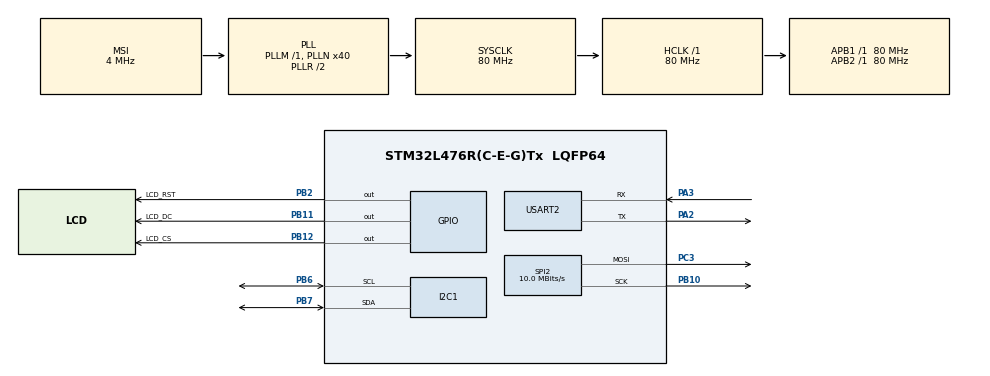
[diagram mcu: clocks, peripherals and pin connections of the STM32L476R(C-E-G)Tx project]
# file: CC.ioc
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I2C1.Timing=0x10909CEC
Mcu.Family=STM32L4
Mcu.Name=STM32L476R(C-E-G)Tx
Mcu.Package=LQFP64
NVIC.PriorityGroup=NVIC_PRIORITYGROUP_4
PA13\ (JTMS-SWDIO).Mode=Serial_Wire
PA13\ (JTMS-SWDIO).Signal=SYS_JTMS-SWDIO
PA14\ (JTCK-SWCLK).Mode=Serial_Wire
PA14\ (JTCK-SWCLK).Signal=SYS_JTCK-SWCLK
PA2.Mode=Asynchronous
PA2.Signal=USART2_TX
PA3.Mode=Asynchronous
PA3.Signal=USART2_RX
PB10.Mode=TX_Only_Simplex_Unidirect_Master
PB10.Signal=SPI2_SCK
PB11.GPIO_Label=LCD_DC
PB11.Signal=GPIO_Output
PB12.GPIO_Label=LCD_CS
PB12.Signal=GPIO_Output
PB2.GPIO_Label=LCD_RST
PB2.Signal=GPIO_Output
PB6.Mode=I2C
PB6.Signal=I2C1_SCL
PB7.Mode=I2C
PB7.Signal=I2C1_SDA
PC3.Mode=TX_Only_Simplex_Unidirect_Master
PC3.Signal=SPI2_MOSI
ProjectManager.HeapSize=0x200
ProjectManager.StackSize=0x400
ProjectManager.TargetToolchain=STM32CubeIDE
RCC.AHBFreq_Value=80000000
RCC.APB1Freq_Value=80000000
RCC.APB1TimFreq_Value=80000000
RCC.APB2Freq_Value=80000000
RCC.APB2TimFreq_Value=80000000
RCC.CortexFreq_Value=80000000
RCC.HCLKFreq_Value=80000000
RCC.HSE_VALUE=8000000
RCC.HSI_VALUE=16000000
RCC.LSE_VALUE=32768
RCC.MSI_VALUE=4000000
RCC.PLLN=40
RCC.SYSCLKFreq_VALUE=80000000
RCC.SYSCLKSource=RCC_SYSCLKSOURCE_PLLCLK
RCC.VCOOutputFreq_Value=160000000
SPI2.BaudRatePrescaler=SPI_BAUDRATEPRESCALER_8
SPI2.CalculateBaudRate=10.0 MBits/s
SPI2.DataSize=SPI_DATASIZE_8BIT
SPI2.Direction=SPI_DIRECTION_2LINES
SPI2.Mode=SPI_MODE_MASTER
SPI2.NSSPMode=SPI_NSS_PULSE_DISABLE
SPI2.VirtualType=VM_MASTER
USART2.VirtualMode-Asynchronous=VM_ASYNC
VP_RTC_VS_RTC_Activate.Mode=RTC_Enabled
board=custom

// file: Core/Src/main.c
/* USER CODE BEGIN Header */
/**
 ******************************************************************************
 * @file           : main.c
 * @brief          : Main program body
 ******************************************************************************
 * @attention
 *
 * Copyright (c) 2023 STMicroelectronics.
 * All rights reserved.
 *
 * This software is licensed under terms that can be found in the LICENSE file
 * in the root directory of this software component.
 * If no LICENSE file comes with this software, it is provided AS-IS.
 *
 ******************************************************************************
 */
/* USER CODE END Header */
#include "main.h"
#include "gpio.h"
#include "i2c.h"
#include "rtc.h"
#include "spi.h"
#include "usart.h"

/* USER CODE BEGIN Includes */
// #include "lcd.h"
// #include "logo.c"

#include "font6x9.h"
#include "hagl.h"
#include "max.h"
#include "rgb565.h"

#include <stdbool.h>
#include <stdio.h>
#include <string.h>
#include <wchar.h>

/* USER CODE END Includes */

void SystemClock_Config(void);

/* USER CODE BEGIN 0 */
uint16_t test_image[64 * 64];

int __io_putchar(int ch)
{
  if (ch == '\n')
  {
    uint8_t ch2 = '\r';
    HAL_UART_Transmit(&huart2, &ch2, 1, HAL_MAX_DELAY);
  }

  HAL_UART_Transmit(&huart2, (uint8_t*)&ch, 1, HAL_MAX_DELAY);
  return 1;
}

/* USER CODE END 0 */

int main(void)
{
  /* USER CODE BEGIN 1 */

  HAL_StatusTypeDef HAL_RTC_GetTime(RTC_HandleTypeDef * hrtc, RTC_TimeTypeDef * sTime, uint32_t Format);
  HAL_StatusTypeDef HAL_RTC_GetDate(RTC_HandleTypeDef * hrtc, RTC_DateTypeDef * sDate, uint32_t Format);
  /* USER CODE END 1 */

  /* MCU Configuration--------------------------------------------------------*/

  /* Reset of all peripherals, Initializes the Flash interface and the Systick.
   */
  HAL_Init();

  /* Configure the system clock */
  SystemClock_Config();

  /* Initialize all configured peripherals */
  MX_GPIO_Init();
  MX_SPI2_Init();
  MX_RTC_Init();
  MX_I2C1_Init();
  MX_USART2_UART_Init();

  /* Infinite loop */
  /* USER CODE BEGIN WHILE */

  /* RTC_TimeTypeDef time;
  RTC_DateTypeDef date;

  HAL_RTC_GetTime(&hrtc, &time, RTC_FORMAT_BIN);
  HAL_RTC_GetDate(&hrtc, &date, RTC_FORMAT_BIN);

   */

  lcd_init();

  /* // RECTANGLE
  for (int i = 0; i < 8; i++) {
    hagl_draw_rounded_rectangle(2+i, 2+i, 158-i, 126-i, 8-i, rgb565(0, 0,
  i*16));
  }

   */

  wchar_t buffer[32]; // Bufor na ciąg znaków, musi być wystarczająco duży

  // Konwersja int na ciąg znaków
  // swprintf(buffer, 32, L"Pomiar prądu: %.2f mA", your_variable);

  // hagl_put_text(L"Godzina: ", 15, 20, WHITE, font6x9);
  //-l_+p , -g|+d

  // Teraz możesz wywołać funkcję hagl_put_text z tym buforem
  hagl_put_text(buffer, 15, 40, WHITE, font6x9);

  wchar_t time_buffer[32]; //  Buffer for storing time information

  // write_valrt_min(&hi2c1, 00000000);  // 0x14 alert register

  write_reset(&hi2c1, 00000001); // 0x18 reset register

  while (1)
  {
    // Define time and date structure variables
    RTC_TimeTypeDef time;
    RTC_DateTypeDef date;
    // Retrieve current time from the RTC
    HAL_RTC_GetTime(&hrtc, &time, RTC_FORMAT_BIN);
    // Retrieve current date from the RTC (date may not be used here but is
    // retrieved for completeness)
    HAL_RTC_GetDate(&hrtc, &date, RTC_FORMAT_BIN);
    // Format and assign the current time to the time buffer
    swprintf(time_buffer, sizeof(time_buffer), L"Time: %02d:%02d:%02d", time.Hours, time.Minutes, time.Seconds);

    // Display the time on the screen at the specified coordinates and font
    hagl_put_text(time_buffer, 15, 20, WHITE, font6x9);

    // Read the battery voltage
    float battery_voltage = read_voltage(&hi2c1);
    wchar_t voltage_buffer[32]; // Buffer for voltage display

    // If the battery voltage is positive, format and display it
    if (battery_voltage > 0)
    {
      // Format and display the battery voltage
      swprintf(voltage_buffer, sizeof(voltage_buffer), L"Voltage: %.4f V", battery_voltage);
      // Display the voltage on the screen at the specified coordinates and font
      hagl_put_text(voltage_buffer, 15, 50, WHITE,
                    font6x9); // Adjust text position as needed
    }
    else
    {
      // Display an error message if voltage reading fails
      hagl_put_text(L"Voltage reading error!", 15, 50, WHITE, font6x9);
    }

    // Read the battery state of charge (SoC)
    float battery_soc = read_soc(&hi2c1);
    wchar_t soc_buffer[32]; // Buffer for SoC display

    // If the SoC reading is valid, format and display it
    if (battery_soc >= 0)
    {
      // Format and display the battery's state of charge
      swprintf(soc_buffer, sizeof(soc_buffer), L"Charge: %.2f%%", battery_soc);
      hagl_put_text(soc_buffer, 15, 40, WHITE,
                    font6x9); // Adjust text position as needed
    }
    else
    {
      // Display an error message if SoC reading fails
      hagl_put_text(L"SoC reading error!", 15, 40, WHITE, font6x9);
    }

    uint8_t ic_version = read_ic_version(&hi2c1);
    wchar_t version_buffer[32]; // Buffer for IC version information

    // Check if the IC version read is valid
    if (ic_version != 0xFF)
    {
      // Format and display the IC version
      swprintf(version_buffer, sizeof(version_buffer), L"IC Version: 0x%02X", ic_version);
      hagl_put_text(version_buffer, 15, 80, WHITE,
                    font6x9); // Adjust text position as necessary
    }
    else
    {
      // Display error message if IC version reading fails
      hagl_put_text(L"IC version read error!", 15, 80, WHITE, font6x9);
    }

    float resistance = 00.0f; // Shunt value: 0 Ohm, indicating no shunt present
    wchar_t current_buffer[64]; // Buffer for current measurement
    wchar_t shunt_buffer[32]; // Buffer for shunt description

    // Verify the presence of a shunt
    if (resistance > 0.0f)
    {
      // Format the shunt description
      if (resistance < 1000.0f)
      {
        swprintf(shunt_buffer, sizeof(shunt_buffer) / sizeof(wchar_t), L"Shunt: %.0f Ω", resistance);
      }
      else
      {
        swprintf(shunt_buffer, sizeof(shunt_buffer) / sizeof(wchar_t), L"Shunt: %.1f kΩ", resistance / 1000.0f);
      }
    }
    else
    {
      // Display "NONE" if no shunt is present
      swprintf(shunt_buffer, sizeof(shunt_buffer) / sizeof(wchar_t), L"Shunt: NONE");
    }

    float battery_current = read_current(&hi2c1, resistance);

    // Check the current value and format the result
    if (battery_current != 0 && resistance > 0.0f)
    {
      // Display in mA if the current is less than 1 A
      if (battery_current < 1.0)
      {
        swprintf(current_buffer, sizeof(current_buffer) / sizeof(wchar_t), L"Current: %.2f mA", battery_current * 1000);
      }
      // Otherwise, display in A
      else
      {
        swprintf(current_buffer, sizeof(current_buffer) / sizeof(wchar_t), L"Current: %.2f A", battery_current);
      }
    }
    else
    {
      // Display "NO SHUNT" if shunt value is 0 or current is 0
      swprintf(current_buffer, sizeof(current_buffer) / sizeof(wchar_t), L"Current: NO SHUNT");
    }

    // Display current and shunt information on the screen
    hagl_put_text(current_buffer, 15, 60, WHITE, font6x9);
    hagl_put_text(shunt_buffer, 15, 70, WHITE, font6x9);

    uint8_t vreset_value;
    HAL_StatusTypeDef status;

    // Attempt to read the VRESET register value
    status = read_reset(&hi2c1, &vreset_value);

    wchar_t vreset_buffer[32]; // Buffer for the VRESET register value

    // Check if the operation was successful
    if (status == HAL_OK)
    {
      // Format and display the VRESET register value
      swprintf(vreset_buffer, sizeof(vreset_buffer) / sizeof(vreset_buffer[0]), L"VRESET: %u", vreset_value);
      hagl_put_text(vreset_buffer, 15, 80, WHITE,
                    font6x9); // Adjust text position as necessary
    }
    else
    { // Display error message if VRESET register read fails
      hagl_put_text(L"VRESET register read error!", 15, 80, WHITE, font6x9);
    }
    uint8_t valrt_min = read_valrt_min(&hi2c1);
    wchar_t valrt_min_buffer[32]; // Buffer for the VALRT.MIN value
                                  // Verify that the read value is not an error code
    if (valrt_min != 0xFF)
    {
      // Format and display the VALRT.MIN value
      swprintf(valrt_min_buffer, sizeof(valrt_min_buffer) / sizeof(valrt_min_buffer[0]), L"VALRT.MIN: %u", valrt_min);
      hagl_put_text(valrt_min_buffer, 15, 90, WHITE,
                    font6x9); // Adjust text position as necessary
    }
    else
    {
      // Display error message if VALRT.MIN register read fails
      hagl_put_text(L"VALRT.MIN register read error!", 15, 90, WHITE, font6x9);
    }

    printf("Czas: %02d:%02d:%02d", time.Hours, time.Minutes, time.Seconds);

    printf(" | Voltage: %.8f\n", battery_voltage);

    printf(" | Voltage: %.8f\n", battery_voltage);

    lcd_copy();
    HAL_Delay(1000);

    /* USER CODE END WHILE */

  }
}

void SystemClock_Config(void)
{
  RCC_OscInitTypeDef RCC_OscInitStruct = {0};
  RCC_ClkInitTypeDef RCC_ClkInitStruct = {0};

  /** Configure the main internal regulator output voltage
   */
  if (HAL_PWREx_ControlVoltageScaling(PWR_REGULATOR_VOLTAGE_SCALE1) != HAL_OK)
  {
    Error_Handler();
  }

  /** Initializes the RCC Oscillators according to the specified parameters
   * in the RCC_OscInitTypeDef structure.
   */
  RCC_OscInitStruct.OscillatorType = RCC_OSCILLATORTYPE_LSI | RCC_OSCILLATORTYPE_MSI;
  RCC_OscInitStruct.LSIState = RCC_LSI_ON;
  RCC_OscInitStruct.MSIState = RCC_MSI_ON;
  RCC_OscInitStruct.MSICalibrationValue = 0;
  RCC_OscInitStruct.MSIClockRange = RCC_MSIRANGE_6;
  RCC_OscInitStruct.PLL.PLLState = RCC_PLL_ON;
  RCC_OscInitStruct.PLL.PLLSource = RCC_PLLSOURCE_MSI;
  RCC_OscInitStruct.PLL.PLLM = 1;
  RCC_OscInitStruct.PLL.PLLN = 40;
  RCC_OscInitStruct.PLL.PLLP = RCC_PLLP_DIV7;
  RCC_OscInitStruct.PLL.PLLQ = RCC_PLLQ_DIV2;
  RCC_OscInitStruct.PLL.PLLR = RCC_PLLR_DIV2;
  if (HAL_RCC_OscConfig(&RCC_OscInitStruct) != HAL_OK)
  {
    Error_Handler();
  }

  /** Initializes the CPU, AHB and APB buses clocks
   */
  RCC_ClkInitStruct.ClockType = RCC_CLOCKTYPE_HCLK | RCC_CLOCKTYPE_SYSCLK | RCC_CLOCKTYPE_PCLK1 | RCC_CLOCKTYPE_PCLK2;
  RCC_ClkInitStruct.SYSCLKSource = RCC_SYSCLKSOURCE_PLLCLK;
  RCC_ClkInitStruct.AHBCLKDivider = RCC_SYSCLK_DIV1;
  RCC_ClkInitStruct.APB1CLKDivider = RCC_HCLK_DIV1;
  RCC_ClkInitStruct.APB2CLKDivider = RCC_HCLK_DIV1;

  if (HAL_RCC_ClockConfig(&RCC_ClkInitStruct, FLASH_LATENCY_4) != HAL_OK)
  {
    Error_Handler();
  }
}

void Error_Handler(void)
{
  __disable_irq();
  while (1)
  {
  }
}

#ifdef USE_FULL_ASSERT
/**
 * @brief  Reports the name of the source file and the source line number
 *         where the assert_param error has occurred.
 * @param  file: pointer to the source file name
 * @param  line: assert_param error line source number
 * @retval None
 */
void assert_failed(uint8_t* file, uint32_t line)
{
  /* USER CODE BEGIN 6 */
  /* User can add his own implementation to report the file name and line
     number, ex: printf("Wrong parameters value: file %s on line %d\r\n", file,
     line) */
  /* USER CODE END 6 */
}
#endif /* USE_FULL_ASSERT */
